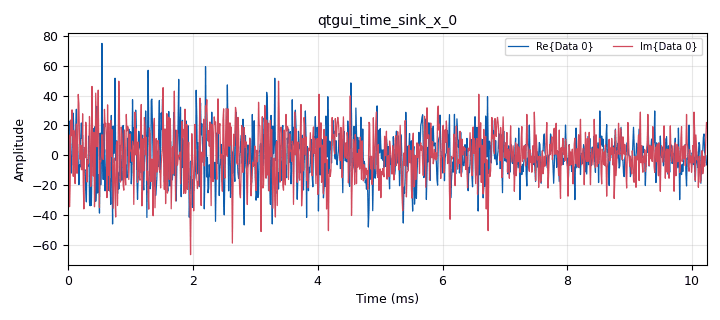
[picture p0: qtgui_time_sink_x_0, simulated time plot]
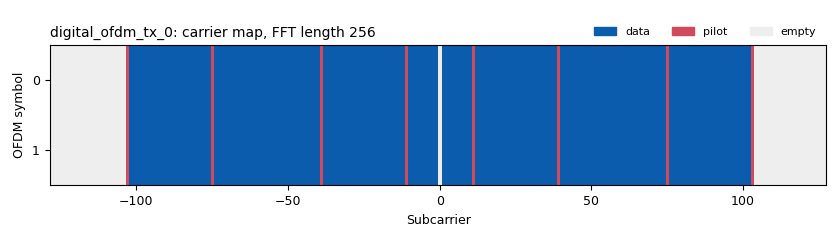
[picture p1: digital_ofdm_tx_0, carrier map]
<?xml version='1.0' encoding='utf-8'?>
<?grc format='1' created='3.7.10'?>
<flow_graph>
<block>
<key>options</key>
<param><key>id</key><value>tx_ofdm</value></param>
<param><key>category</key><value>Custom</value></param>
<param><key>description</key><value>Example of an OFDM Transmitter</value></param>
<param><key>generate_options</key><value>qt_gui</value></param>
<param><key>run_options</key><value>run</value></param>
<param><key>title</key><value>OFDM Tx</value></param>
</block>
<block>
<key>variable</key>
<param><key>id</key><value>fft_len</value></param>
<param><key>value</key><value>256</value></param>
</block>
<block>
<key>variable</key>
<param><key>id</key><value>hdr_format</value></param>
<param><key>value</key><value>digital.header_format_ofdm(occupied_carriers, 1, length_tag_key,)</value></param>
</block>
<block>
<key>variable</key>
<param><key>id</key><value>header_mod</value></param>
<param><key>value</key><value>digital.constellation_bpsk()</value></param>
</block>
<block>
<key>variable</key>
<param><key>id</key><value>length_tag_key</value></param>
<param><key>value</key><value>"packet_len"</value></param>
</block>
<block>
<key>variable</key>
<param><key>id</key><value>occupied_carriers</value></param>
<param><key>value</key><value>(range(-102,-75) + range(-74,-39) + range(-38, -11) + range(-10, 0) + range(1, 11) + range(12, 39) + range(40,75) + range(76,103),)</value></param>
</block>
<block>
<key>variable</key>
<param><key>id</key><value>packet_len</value></param>
<param><key>value</key><value>420</value></param>
</block>
<block>
<key>variable</key>
<param><key>id</key><value>payload_mod</value></param>
<param><key>value</key><value>digital.constellation_qpsk()</value></param>
</block>
<block>
<key>variable</key>
<param><key>id</key><value>pilot_carriers</value></param>
<param><key>value</key><value>((-103,-75,-39,-11,11,39,75,103),)</value></param>
</block>
<block>
<key>variable</key>
<param><key>id</key><value>pilot_symbols</value></param>
<param><key>value</key><value>((1,1,1,1,1,1,1,-1),)</value></param>
</block>
<block>
<key>variable</key>
<param><key>id</key><value>rolloff</value></param>
<param><key>value</key><value>0</value></param>
</block>
<block>
<key>variable</key>
<param><key>id</key><value>samp_rate</value></param>
<param><key>value</key><value>100000</value></param>
</block>
<block>
<key>variable</key>
<param><key>id</key><value>sync_word1</value></param>
<param><key>value</key><value>(0,0,0,0,0,0,0,0,0,0,0,0,0,0,0,0,0,0,0,0,0,0,0,0,0,1.4142,0,1.4142,0,-1.4142,0,-1.4142,0,1.4142,0,-1.4142,0,1.4142,0,1.4142,0,1.4142,0,-1.4142,0,-1.4142,0,-1.4142,0,1.4142,0,-1.4142,0,1.4142,0,-1.4142,0,1.4142,0,-1.4142,0,1.4142,0,1.4142,0,1.4142,0,1.4142,0,-1.4142,0,1.4142,0,-1.4142,0,-1.4142,0,1.4142,0,1.4142,0,-1.4142,0,1.4142,0,1.4142,0,1.4142,0,1.4142,0,0,0,1.4142,0,1.4142,0,-1.4142,0,-1.4142,0,1.4142,0,-1.4142,0,-1.4142,0,-1.4142,0,1.4142,0,1.4142,0,1.4142,0,-1.4142,0,-1.4142,0,1.4142,0,-1.4142,0,-1.4142,0,1.4142,0,-1.4142,0,-1.4142,0,1.4142,0,1.4142,0,1.4142,0,1.4142,0,1.4142,0,-1.4142,0,-1.4142,0,-1.4142,0,-1.4142,0,1.4142,0,-1.4142,0,-1.4142,0,-1.4142,0,-1.4142,0,-1.4142,0,-1.4142,0,1.4142,0,0,0,-1.4142,0,-1.4142,0,1.4142,0,1.4142,0,-1.4142,0,-1.4142,0,-1.4142,0,-1.4142,0,1.4142,0,-1.4142,0,1.4142,0,1.4142,0,-1.4142,0,-1.4142,0,-1.4142,0,-1.4142,0,-1.4142,0,1.4142,0,-1.4142,0,-1.4142,0,1.4142,0,-1.4142,0,1.4142,0,1.4142,0,-1.4142,0,1.4142,0,-1.4142,0,-1.4142,0,1.4142,0,1.4142,0,1.4142,0,-1.4142,0,-1.4142,0,0,0,0,0,0,0,0,0,0,0,0,0,0,0,0,0,0,0,0,0,0,0,0)</value></param>
</block>
<block>
<key>variable</key>
<param><key>id</key><value>sync_word2</value></param>
<param><key>value</key><value>(0,0,0,0,0,0,0,0,0,0,0,0,0,0,0,0,0,0,0,0,0,0,0,0,0,-1,0,1,0,-1,0,-1,0,1,0,1,0,1,0,-1,0,-1,0,-1,0,1,0,-1,0,1,0,1,0,-1,0,-1,0,-1,0,-1,0,-1,0,1,0,-1,0,-1,0,1,0,-1,0,-1,0,1,0,-1,0,1,0,1,0,1,0,-1,0,1,0,-1,0,0,0,1,0,1,0,1,0,-1,0,1,0,-1,0,-1,0,-1,0,-1,0,-1,0,-1,0,-1,0,1,0,-1,0,1,0,1,0,1,0,-1,0,1,0,1,0,1,0,-1,0,1,0,1,0,1,0,1,0,1,0,-1,0,-1,0,1,0,-1,0,-1,0,-1,0,-1,0,1,0,1,0,0,0,-1,0,-1,0,1,0,-1,0,1,0,1,0,-1,0,-1,0,-1,0,1,0,-1,0,-1,0,-1,0,-1,0,-1,0,-1,0,1,0,1,0,-1,0,1,0,-1,0,-1,0,1,0,1,0,-1,0,1,0,-1,0,1,0,1,0,1,0,1,0,1,0,-1,0,0,0,0,0,0,0,0,0,0,0,0,0,0,0,0,0,0,0,0,0,0,0,0)</value></param>
</block>
<block>
<key>analog_random_source_x</key>
<param><key>id</key><value>analog_random_source_x_0</value></param>
<param><key>max</key><value>255</value></param>
<param><key>min</key><value>0</value></param>
<param><key>num_samps</key><value>1000</value></param>
<param><key>type</key><value>byte</value></param>
<param><key>repeat</key><value>True</value></param>
</block>
<block>
<key>blocks_file_sink</key>
<param><key>id</key><value>blocks_file_sink_0</value></param>
<param><key>file</key><value>C:\Users\Miska\Lubo_Diplomka\_Matlab_ostra_verzia\gnuradio_ofdm_headerProblem\ofdm_sig_in.txt</value></param>
<param><key>type</key><value>byte</value></param>
</block>
<block>
<key>blocks_file_sink</key>
<param><key>id</key><value>blocks_file_sink_0_0</value></param>
<param><key>file</key><value>C:\Users\Miska\Lubo_Diplomka\_Matlab_ostra_verzia\gnuradio_ofdm_headerProblem\ofdm_sig_out.txt</value></param>
<param><key>type</key><value>complex</value></param>
</block>
<block>
<key>blocks_stream_to_tagged_stream</key>
<param><key>id</key><value>blocks_stream_to_tagged_stream_0</value></param>
<param><key>len_tag_key</key><value>"packet_len"</value></param>
<param><key>packet_len</key><value>packet_len</value></param>
<param><key>type</key><value>byte</value></param>
</block>
<block>
<key>blocks_tag_debug</key>
<param><key>id</key><value>blocks_tag_debug_0</value></param>
<param><key>type</key><value>byte</value></param>
</block>
<block>
<key>blocks_throttle</key>
<param><key>id</key><value>blocks_throttle_0</value></param>
<param><key>samples_per_second</key><value>samp_rate</value></param>
<param><key>type</key><value>byte</value></param>
</block>
<block>
<key>digital_ofdm_rx</key>
<param><key>id</key><value>digital_ofdm_rx_0</value></param>
<param><key>cp_len</key><value>fft_len/4</value></param>
<param><key>fft_len</key><value>fft_len</value></param>
<param><key>header_mod</key><value>"BPSK"</value></param>
<param><key>occupied_carriers</key><value>occupied_carriers</value></param>
<param><key>packet_len_key</key><value>rx_len</value></param>
<param><key>payload_mod</key><value>"QPSK"</value></param>
<param><key>pilot_carriers</key><value>pilot_carriers</value></param>
<param><key>pilot_symbols</key><value>pilot_symbols</value></param>
<param><key>sync_word1</key><value>sync_word1</value></param>
<param><key>sync_word2</key><value>sync_word2</value></param>
</block>
<block>
<key>digital_ofdm_tx</key>
<param><key>id</key><value>digital_ofdm_tx_0</value></param>
<param><key>cp_len</key><value>fft_len/4</value></param>
<param><key>fft_len</key><value>fft_len</value></param>
<param><key>header_mod</key><value>"BPSK"</value></param>
<param><key>packet_len_key</key><value>packet_len</value></param>
<param><key>occupied_carriers</key><value>occupied_carriers</value></param>
<param><key>payload_mod</key><value>"QPSK"</value></param>
<param><key>pilot_carriers</key><value>pilot_carriers</value></param>
<param><key>pilot_symbols</key><value>pilot_symbols</value></param>
<param><key>rolloff</key><value>0</value></param>
<param><key>sync_word1</key><value>sync_word1</value></param>
<param><key>sync_word2</key><value>sync_word2</value></param>
</block>
<block>
<key>qtgui_time_sink_x</key>
<param><key>id</key><value>qtgui_time_sink_x_0</value></param>
<param><key>autoscale</key><value>True</value></param>
<param><key>color1</key><value>"blue"</value></param>
<param><key>label1</key><value></value></param>
<param><key>color2</key><value>"red"</value></param>
<param><key>label2</key><value></value></param>
<param><key>size</key><value>1024</value></param>
<param><key>srate</key><value>samp_rate</value></param>
<param><key>type</key><value>complex</value></param>
</block>
<connection><source_block_id>analog_random_source_x_0</source_block_id><sink_block_id>blocks_stream_to_tagged_stream_0</sink_block_id><source_key>0</source_key><sink_key>0</sink_key></connection>
<connection><source_block_id>blocks_stream_to_tagged_stream_0</source_block_id><sink_block_id>blocks_throttle_0</sink_block_id><source_key>0</source_key><sink_key>0</sink_key></connection>
<connection><source_block_id>blocks_throttle_0</source_block_id><sink_block_id>blocks_file_sink_0</sink_block_id><source_key>0</source_key><sink_key>0</sink_key></connection>
<connection><source_block_id>blocks_throttle_0</source_block_id><sink_block_id>digital_ofdm_tx_0</sink_block_id><source_key>0</source_key><sink_key>0</sink_key></connection>
<connection><source_block_id>digital_ofdm_rx_0</source_block_id><sink_block_id>blocks_tag_debug_0</sink_block_id><source_key>0</source_key><sink_key>0</sink_key></connection>
<connection><source_block_id>digital_ofdm_tx_0</source_block_id><sink_block_id>blocks_file_sink_0_0</sink_block_id><source_key>0</source_key><sink_key>0</sink_key></connection>
<connection><source_block_id>digital_ofdm_tx_0</source_block_id><sink_block_id>digital_ofdm_rx_0</sink_block_id><source_key>0</source_key><sink_key>0</sink_key></connection>
<connection><source_block_id>digital_ofdm_tx_0</source_block_id><sink_block_id>qtgui_time_sink_x_0</sink_block_id><source_key>0</source_key><sink_key>0</sink_key></connection>
</flow_graph>
